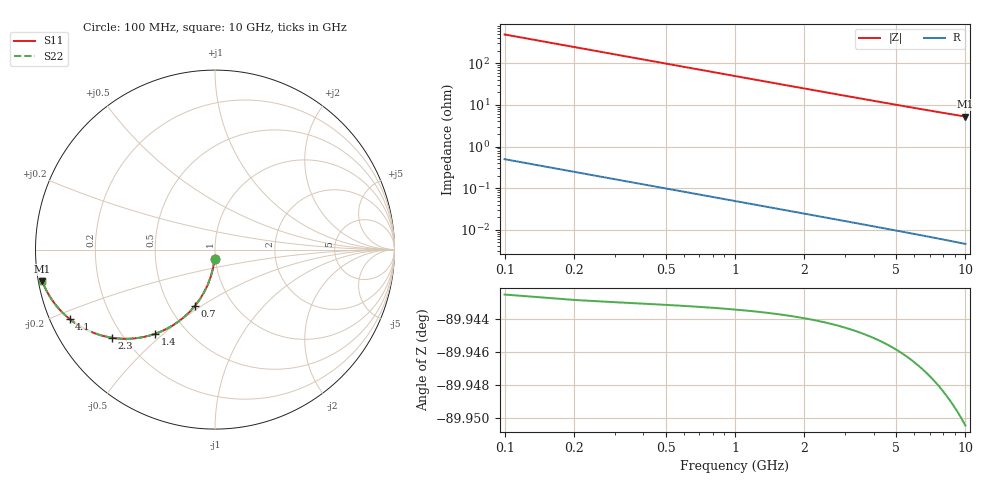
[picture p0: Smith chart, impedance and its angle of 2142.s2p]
# Hz S RI R 50.00
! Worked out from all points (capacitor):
!   100 points, 100 MHz to 10 GHz, reference 50 ohm
!   read as one part in shunt: C = 3.22 pF near 100 MHz
!   lowest |Z| = 5.25 ohm at 10 GHz (marker M1)
!   S11 on the Smith chart (normalised r, x): 100 MHz: 0.99, -0.10; 700 MHz: 0.67, -0.47; 1.4 GHz: 0.33, -0.47; 2.3 GHz: 0.16, -0.36; 4.1 GHz: 0.06, -0.23; 10 GHz: 0.01, -0.09
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1e8  -0.00258 -0.0503  0.9974 -0.0506  0.9974 -0.0506  -0.00258 -0.0503
2e8  -0.0102 -0.0999  0.9898 -0.1004  0.9898 -0.1004  -0.0102 -0.0999
3e8  -0.0226 -0.1479  0.9773 -0.1486  0.9773 -0.1486  -0.0226 -0.1479
4e8  -0.0395 -0.1937  0.9605 -0.1947  0.9605 -0.1947  -0.0395 -0.1937
5e8  -0.0603 -0.2369  0.9397 -0.2381  0.9397 -0.2381  -0.0603 -0.2369
6e8  -0.0845 -0.2769  0.9155 -0.2784  0.9155 -0.2784  -0.0845 -0.2769
7e8  -0.1115 -0.3134  0.8885 -0.3151  0.8885 -0.3151  -0.1115 -0.3134
8e8  -0.1407 -0.3463  0.8592 -0.3483  0.8592 -0.3483  -0.1407 -0.3463
1e9  -0.2036 -0.4009  0.7964 -0.4034  0.7964 -0.4034  -0.2036 -0.4009
1.2e9  -0.2689 -0.4414  0.7311 -0.4444  0.7311 -0.4444  -0.2689 -0.4414
1.4e9  -0.3333 -0.4692  0.6666 -0.4727  0.6666 -0.4727  -0.3333 -0.4692
1.6e9  -0.3949 -0.4863  0.6051 -0.4903  0.6051 -0.4903  -0.3949 -0.4863
1.8e9  -0.4521 -0.4949  0.5479 -0.4995  0.5479 -0.4995  -0.4521 -0.4949
2.3e9  -0.5735 -0.4912  0.4265 -0.497  0.4265 -0.497  -0.5735 -0.4912
2.8e9  -0.6655 -0.4678  0.3345 -0.4749  0.3345 -0.4749  -0.6655 -0.4678
3.4e9  -0.7454 -0.4308  0.2545 -0.4394  0.2545 -0.4394  -0.7454 -0.4308
4.1e9  -0.8096 -0.3868  0.1903 -0.3973  0.1903 -0.3973  -0.8096 -0.3868
5.1e9  -0.868 -0.3314  0.1319 -0.3445  0.1319 -0.3445  -0.868 -0.3314
5.8e9  -0.8948 -0.2987  0.1051 -0.3138  0.1051 -0.3138  -0.8948 -0.2987
6.7e9  -0.9191 -0.2633  0.0807 -0.2808  0.0807 -0.2808  -0.9191 -0.2633
8.4e9  -0.9471 -0.2118  0.0526 -0.234  0.0526 -0.234  -0.9471 -0.2118
1e10  -0.9623 -0.176  0.0373 -0.2028  0.0373 -0.2028  -0.9623 -0.176
